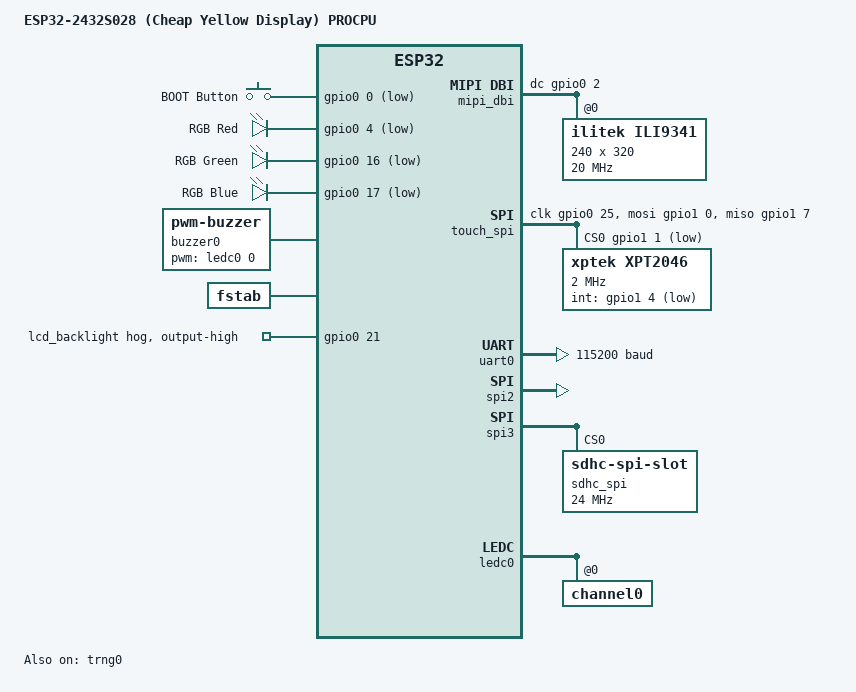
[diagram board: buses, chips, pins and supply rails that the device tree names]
/*
 * ESP32-2432S028 (Cheap Yellow Display) - PROCPU devicetree
 *
 * Copyright (c) 2026
 * SPDX-License-Identifier: Apache-2.0
 *
 * Verified peripherals: RGB LED, ILI9341 LCD (SPI2/HSPI), XPT2046 touch
 * (bitbang SPI), microSD (SPI3/VSPI, FAT), PWM buzzer (LEDC), BOOT button.
 *
 * Notes for future maintainers:
 *  - GPIO numbering >= 32 must use &gpio1 with local index = pin - 32
 *    (e.g. physical GPIO36 = &gpio1 4). This board's touch lines (32, 33,
 *    36, 39) all fall in this range; only the touch CLK (GPIO25) stays on
 *    &gpio0.
 *  - LCD and touch cannot share a hardware SPI controller: their SCLK/
 *    MOSI/MISO pins are physically different (LCD: 12/13/14/15 on HSPI;
 *    touch: 25/32/39/33). Since ESP32 only exposes two general-purpose SPI
 *    controllers (spi2/spi3) and spi3 is used for the SD card, touch is
 *    driven via "zephyr,spi-bitbang" over plain GPIOs instead.
 *  - The LCD has no physical reset pin; do not add reset-gpios.
 *  - SD host controller compatible is "zephyr,sdhc-spi-slot" (NOT
 *    "zephyr,sdmmc-spi-slot", which does not exist as a binding).
 */
/dts-v1/;

#include <espressif/esp32/esp32_wroom_32ue_n4.dtsi>
#include "esp32_2432s028-pinctrl.dtsi"
#include <espressif/partitions_0x1000_amp.dtsi>
#include <zephyr/dt-bindings/input/input-event-codes.h>
#include <zephyr/dt-bindings/display/panel.h>
#include <zephyr/dt-bindings/pwm/pwm.h>

/ {
	model = "ESP32-2432S028 (Cheap Yellow Display) PROCPU";
	compatible = "espressif,esp32";

	aliases {
		uart-0 = &uart0;
		sw0 = &button0;
		watchdog0 = &wdt0;
		led0 = &led_red;
		led1 = &led_green;
		led2 = &led_blue;
		buzzer0 = &buzzer0;
	};

	chosen {
		zephyr,sram = &sram1;
		zephyr,console = &uart0;
		zephyr,shell-uart = &uart0;
		zephyr,flash = &flash0;
		zephyr,code-partition = &slot0_partition;
		zephyr,display = &ili9341;
	};

	buttons {
		compatible = "gpio-keys";

		button0: button_0 {
			gpios = <&gpio0 0 (GPIO_PULL_UP | GPIO_ACTIVE_LOW)>;
			label = "BOOT Button";
			zephyr,code = <INPUT_KEY_0>;
		};
	};

	/* Discrete RGB LED, active-low. */
	rgb_led {
		compatible = "gpio-leds";

		led_red: led_0 {
			gpios = <&gpio0 4 GPIO_ACTIVE_LOW>;
			label = "RGB Red";
		};

		led_green: led_1 {
			gpios = <&gpio0 16 GPIO_ACTIVE_LOW>;
			label = "RGB Green";
		};

		led_blue: led_2 {
			gpios = <&gpio0 17 GPIO_ACTIVE_LOW>;
			label = "RGB Blue";
		};
	};

	/* PWM-driven passive buzzer on GPIO26 (JST "SPEAK" connector). */
	buzzer0: buzzer0 {
		compatible = "pwm-buzzer";
		pwms = <&ledc0 0 PWM_HZ(2700) PWM_POLARITY_NORMAL>;
	};

	/* ILI9341 LCD via MIPI-DBI mode C (4-wire SPI) wrapper. */
	mipi_dbi {
		compatible = "zephyr,mipi-dbi-spi";
		spi-dev = <&spi2>;
		dc-gpios = <&gpio0 2 GPIO_ACTIVE_HIGH>;
		write-only;
		#address-cells = <1>;
		#size-cells = <0>;

		ili9341: ili9341@0 {
			compatible = "ilitek,ili9341";
			reg = <0>;
			mipi-max-frequency = <20000000>;
			pixel-format = <PANEL_PIXEL_FORMAT_RGB_565>;
			rotation = <180>;
			width = <240>;
			height = <320>;
		};
	};

	/* XPT2046 touch controller - bitbang SPI (see header note). */
	touch_spi: touch-spi {
		compatible = "zephyr,spi-bitbang";
		#address-cells = <1>;
		#size-cells = <0>;

		clk-gpios = <&gpio0 25 GPIO_ACTIVE_HIGH>;
		mosi-gpios = <&gpio1 0 GPIO_ACTIVE_HIGH>; /* physical GPIO32 */
		miso-gpios = <&gpio1 7 GPIO_ACTIVE_HIGH>; /* physical GPIO39 */
		cs-gpios = <&gpio1 1 GPIO_ACTIVE_LOW>;  /* physical GPIO33 */

		xpt2046: xpt2046@0 {
			compatible = "xptek,xpt2046";
			reg = <0>;
			spi-max-frequency = <2000000>;
			int-gpios = <&gpio1 4 GPIO_ACTIVE_LOW>; /* physical GPIO36 */
			display = <&ili9341>;

			touchscreen-size-x = <240>;
			touchscreen-size-y = <320>;
			min-x = <200>;
			max-x = <3700>;
			min-y = <240>;
			max-y = <3800>;

			screen-width = <240>;
			screen-height = <320>;
			inverted-y;
		};
	};

	/* microSD card automount. */
	fstab {
		compatible = "zephyr,fstab";

		ffs_sd: ffs_sd {
			compatible = "zephyr,fstab,fatfs";
			mount-point = "/SD:";
			automount;
			disk-access;
		};
	};
};

/ {
	lvgl_pointer: lvgl-pointer {
		compatible = "zephyr,lvgl-pointer-input";
		input = <&xpt2046>;
	};
};

&uart0 {
	status = "okay";
	current-speed = <115200>;
	pinctrl-0 = <&uart0_default>;
	pinctrl-names = "default";
};

&gpio0 {
	status = "okay";

	/* LCD backlight, held high permanently via gpio-hog. */
	lcd_backlight: lcd-backlight {
		gpio-hog;
		gpios = <21 GPIO_ACTIVE_HIGH>;
		output-high;
	};
};

&gpio1 {
	status = "okay";
};

/* HSPI - dedicated to the LCD only. */
&spi2 {
	#address-cells = <1>;
	#size-cells = <0>;
	status = "okay";
	pinctrl-0 = <&spim2_default>;
	pinctrl-names = "default";
};

/* VSPI - dedicated to the microSD card only. */
&spi3 {
	#address-cells = <1>;
	#size-cells = <0>;
	status = "okay";
	pinctrl-0 = <&spim3_default>;
	pinctrl-names = "default";

	sdhc_spi: sdhc@0 {
		compatible = "zephyr,sdhc-spi-slot";
		reg = <0>;
		status = "okay";
		spi-max-frequency = <24000000>;

		mmc {
			compatible = "zephyr,sdmmc-disk";
			disk-name = "SD";
			status = "okay";
		};
	};
};

/* LEDC channel 0 -> buzzer on GPIO26. */
&ledc0 {
	pinctrl-0 = <&ledc0_default>;
	pinctrl-names = "default";
	status = "okay";
	#address-cells = <1>;
	#size-cells = <0>;

	channel0@0 {
		reg = <0x0>;
		timer = <0>;
	};
};

&trng0 {
	status = "okay";
};

&timer0 {
	status = "disabled";
};

&timer1 {
	status = "disabled";
};

&timer2 {
	status = "disabled";
};

&timer3 {
	status = "disabled";
};
